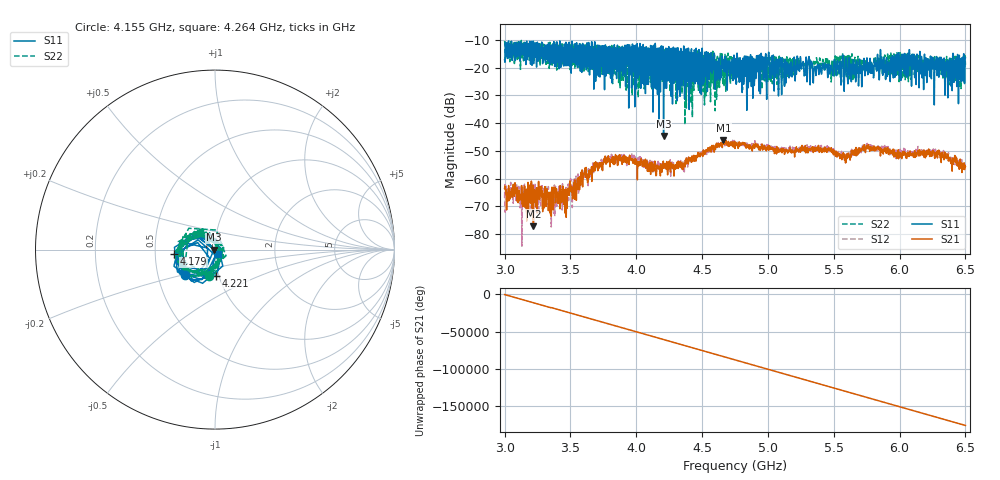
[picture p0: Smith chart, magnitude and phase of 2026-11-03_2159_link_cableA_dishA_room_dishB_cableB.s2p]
! HEWLETT PACKARD,8720ES,MY41003347,7.72, via bringup/vna_tests.py
! link_cableA_dishA_room_dishB_cableB
! measured 2026-11-03 22:00:15, 1601 points, 3000000000-6500000000 Hz, IF bandwidth 1000 Hz, source -40.00 dBm, kit CALK35MD
# HZ S RI R 50
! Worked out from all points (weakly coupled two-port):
!   1601 points, 3 GHz to 6.5 GHz, reference 50 ohm
!   highest |S21| = -46.17 dB at 4.662 GHz (marker M1); lowest = -77.2 dB at 3.219 GHz (marker M2)
!   lowest |S11| = -44.6 dB at 4.207 GHz (marker M3), VSWR 1.01, Z = 49.4 - j0.0123 ohm
!   |S11| at or under -10 dB: start of sweep to end of sweep
!   |S22| runs from -40.5 to -10.2 dB; largest |S21 - S12| = 0.0012
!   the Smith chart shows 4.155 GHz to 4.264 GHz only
!   S11 on the Smith chart (normalised r, x): 4.155 GHz: 0.69, -0.20; 4.179 GHz: 0.63, -0.03; 4.221 GHz: 0.97, -0.29; 4.264 GHz: 1.03, -0.05
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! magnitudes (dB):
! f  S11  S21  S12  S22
! 3 GHz  -17.2  -63.6  -66.9  -10.4
! 3.219 GHz  -17.6  -77.2  -67.8  -10.6
! 3.365 GHz  -14.4  -66.1  -66.6  -12.1
! 3.473 GHz  -19.3  -70.8  -64.0  -13.5
! 3.584 GHz  -14.5  -60.4  -60.7  -12.7
! 3.772 GHz  -19.8  -53.3  -54.0  -15.6
! 4.155 GHz  -13.1  -57.1  -54.9  -16.6
! 4.168 GHz  -13.3  -56.6  -55.8  -13.7
! 4.179 GHz  -12.9  -57.0  -58.0  -13.9
! 4.207 GHz  -44.6  -56.3  -55.8  -17.3
! 4.221 GHz  -16.7  -56.3  -55.1  -26.1
! 4.264 GHz  -30.3  -54.3  -54.5  -18.1
! 4.363 GHz  -12.6  -55.6  -55.0  -15.7
! 4.662 GHz  -17.6  -46.2  -46.9  -17.1
! 4.75 GHz  -20.3  -49.2  -48.6  -23.3
! 5.334 GHz  -18.5  -49.1  -49.5  -19.0
! 5.586 GHz  -22.5  -52.3  -52.0  -21.8
! 5.765 GHz  -18.4  -49.2  -48.5  -19.0
! 5.918 GHz  -21.0  -49.8  -50.5  -19.6
! 6.288 GHz  -22.0  -52.6  -50.6  -16.3
! 6.382 GHz  -17.0  -53.1  -53.2  -16.6
! 6.5 GHz  -16.4  -55.7  -57.3  -19.0
